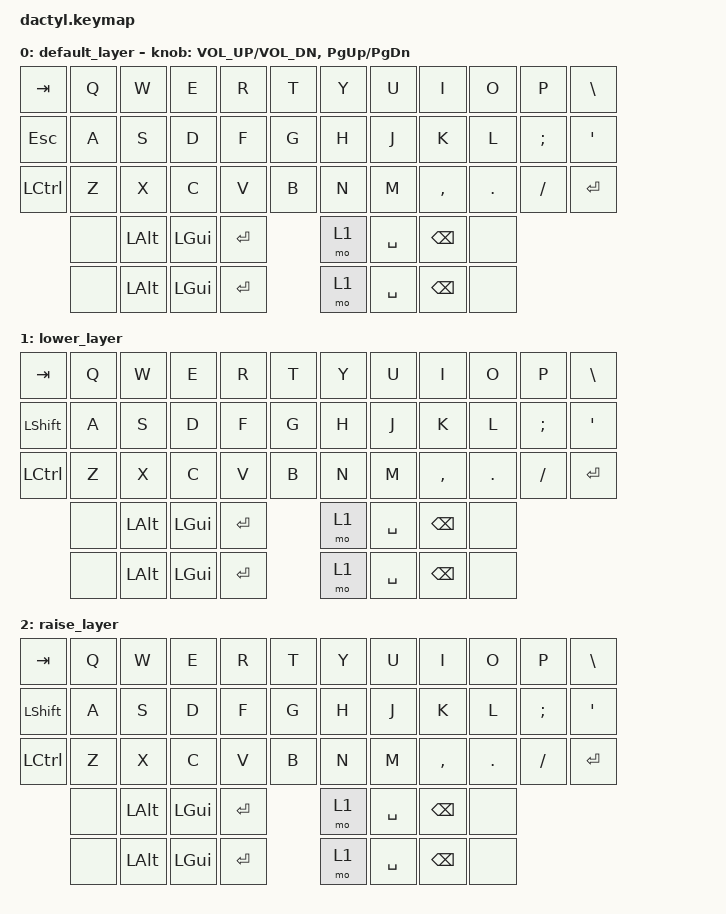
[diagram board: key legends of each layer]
/*
 * Copyright (c) 2020 The ZMK Contributors
 *
 * SPDX-License-Identifier: MIT
 */

#include <behaviors.dtsi>
#include <dt-bindings/zmk/keys.h>
#include <dt-bindings/zmk/bt.h>

/ {
    keymap {
        compatible = "zmk,keymap";

        // TODO: SWAP SHIFTED KEYS SOMEHOW
        default_layer {
// ------------------------------------------------------------------------------------------------------------
// |  ESC  |  1  |  2  |   3  |   4   |   5   |   6   |  |   7   |   8   |  9    |  0    |  -   |   +   |   `   |
// |  TAB  |  Q  |  W  |   E  |   R   |   T   |   [   |  |   ]   |   Y   |  U    |  I    |  O   |   P   |   \   |
// | SHIFT |  A  |  S  |   D  |   F   |   G   |   (   |  |   )   |   H   |  J    |  K    |  L   |   ;   |   '   |
// |  CTRL |  Z  |  X  |   C  |   V   |   B   |       |  |       |   N   |  M    |  ,    |  .   |   /   | ENTER |
//         | XXX | ALT |  GUI | ENTER | LOWER | RAISE |  | RAISE | LOWER | SPACE | BSPC  | UNDO |   DO  |
//
            bindings = <
&kp TAB    &kp Q  &kp W    &kp E    &kp R     &kp T            &kp Y     &kp U     &kp I     &kp O     &kp P     &kp BSLH
&kp ESC    &kp A  &kp S    &kp D    &kp F     &kp G            &kp H     &kp J     &kp K     &kp L     &kp SEMI  &kp SQT
&kp LCTRL  &kp Z  &kp X    &kp C    &kp V     &kp B            &kp N     &kp M     &kp COMMA &kp DOT   &kp FSLH  &kp ENTER
           &none  &kp LALT &kp LGUI &kp ENTER                  &mo 1     &kp SPACE &kp BSPC  &none
           &none  &kp LALT &kp LGUI &kp ENTER                  &mo 1     &kp SPACE &kp BSPC  &none
            >;

            sensor-bindings = <&inc_dec_kp C_VOL_UP C_VOL_DN &inc_dec_kp PG_UP PG_DN>;
        };

        lower_layer {
// ------------------------------------------------------------------------------------------------------------
// |       |  F1 | F2  |  F3  |  F4  |  F5  |   F6   |  |       |  F7  |  F8   |  F9   |  F10  |  F11  |  F12  |       |
// |       |     |     |      |      |      |        |  |       |      |   7   |   8   |   9   |       |       |       |
// |       |     |     |      |      |      |        |  |       |      |   4   |   5   |   6   |   *   |       |       |
// |       |     |     |      |      |      |        |  |       |      |   1   |   2   |   3   |   /   |       |       |
//               |     |      |      |      |        |  |       |      |       |       |       |   0   |   .   |       |
            bindings = <
&kp TAB    &kp Q  &kp W    &kp E    &kp R     &kp T            &kp Y     &kp U     &kp I     &kp O     &kp P     &kp BSLH
&kp LSHIFT &kp A  &kp S    &kp D    &kp F     &kp G            &kp H     &kp J     &kp K     &kp L     &kp SEMI  &kp SQT
&kp LCTRL  &kp Z  &kp X    &kp C    &kp V     &kp B            &kp N     &kp M     &kp COMMA &kp DOT   &kp FSLH  &kp ENTER
           &none  &kp LALT &kp LGUI &kp ENTER                  &mo 1     &kp SPACE &kp BSPC  &none
           &none  &kp LALT &kp LGUI &kp ENTER                  &mo 1     &kp SPACE &kp BSPC  &none
            >;
        };

        raise_layer {
// ------------------------------------------------------------------------------------------------------------
// |       |  F1 | F2  |  F3  |  F4  |  F5  |   F6   |  |       |  F7  |  F8   |  F9   |  F10 |  F11  |  F12  |
// |       |     |     |      |      |      |        |  |       |      |   ^   |       |      |       |       |
// |       |     |     |      |      |      |        |  |       |  <   |   v   |   >   |      |       |       |
// |       |     |     |      |      |      |        |  |       |      |       |       |      |       |       |
//               |     |      |      |      |        |  |       |      |       |       |      |       |       |
            bindings = <
&kp TAB    &kp Q  &kp W    &kp E    &kp R     &kp T            &kp Y     &kp U     &kp I     &kp O     &kp P     &kp BSLH
&kp LSHIFT &kp A  &kp S    &kp D    &kp F     &kp G            &kp H     &kp J     &kp K     &kp L     &kp SEMI  &kp SQT
&kp LCTRL  &kp Z  &kp X    &kp C    &kp V     &kp B            &kp N     &kp M     &kp COMMA &kp DOT   &kp FSLH  &kp ENTER
           &none  &kp LALT &kp LGUI &kp ENTER                  &mo 1     &kp SPACE &kp BSPC  &none
           &none  &kp LALT &kp LGUI &kp ENTER                  &mo 1     &kp SPACE &kp BSPC  &none
            >;
        };
    };
};
